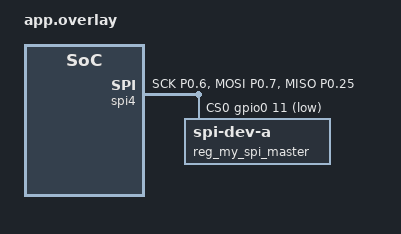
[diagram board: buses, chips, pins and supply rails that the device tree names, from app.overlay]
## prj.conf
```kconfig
#
# Copyright (c) 2018 Nordic Semiconductor
#
# SPDX-License-Identifier: LicenseRef-Nordic-5-Clause
#

# Enable the UART driver
CONFIG_UART_ASYNC_API=y
CONFIG_NRFX_UARTE0=y
CONFIG_SERIAL=y

CONFIG_GPIO=y

# Make sure printk is printing to the UART console
CONFIG_CONSOLE=y
CONFIG_UART_CONSOLE=y

CONFIG_HEAP_MEM_POOL_SIZE=2048

CONFIG_BT=y
CONFIG_BT_PERIPHERAL=y
CONFIG_BT_DEVICE_NAME="Nordic_UART_Service"
CONFIG_BT_DEVICE_APPEARANCE=833
CONFIG_BT_MAX_CONN=1
CONFIG_BT_MAX_PAIRED=1

# Enable the NUS service
CONFIG_BT_NUS=y

# Enable bonding
CONFIG_BT_SETTINGS=y
CONFIG_FLASH=y
CONFIG_FLASH_PAGE_LAYOUT=y
CONFIG_FLASH_MAP=y
CONFIG_NVS=y
CONFIG_SETTINGS=y

# Enable DK LED and Buttons library
CONFIG_DK_LIBRARY=y

# This example requires more workqueue stack
CONFIG_SYSTEM_WORKQUEUE_STACK_SIZE=2048

# Config logger
CONFIG_LOG=y
CONFIG_USE_SEGGER_RTT=y
CONFIG_LOG_BACKEND_RTT=y
CONFIG_LOG_BACKEND_UART=n

CONFIG_ASSERT=y

#SPI

CONFIG_SPI=y
CONFIG_SPI_ASYNC=y
```

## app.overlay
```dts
/*
 * Copyright (c) 2022 Nordic Semiconductor ASA
 *
 * SPDX-License-Identifier: LicenseRef-Nordic-5-Clause
 */
 &pinctrl {
	spi_master_default: spi_master_default {
		group1 {
			psels = <NRF_PSEL(SPIM_SCK, 0, 6)>,
					<NRF_PSEL(SPIM_MOSI, 0, 7)>,
					<NRF_PSEL(SPIM_MISO, 0, 25)>;
		};
	};

	spi_master_sleep: spi_master_sleep {
		group1 {
			psels = <NRF_PSEL(SPIM_SCK, 0, 6)>,
					<NRF_PSEL(SPIM_MOSI, 0, 7)>,
					<NRF_PSEL(SPIM_MISO, 0, 25)>;
			low-power-enable;
		};
	};
};

my_spi_master: &spi4 {
	compatible = "nordic,nrf-spim";
	status = "okay";
	pinctrl-0 = <&spi_master_default>;
	pinctrl-1 = <&spi_master_sleep>;
	cs-gpios = <&gpio0 11 GPIO_ACTIVE_LOW>;
	reg_my_spi_master:  spi-dev-a@0 {
		reg = <0>;
	};
};
/ {
	chosen {
		nordic,nus-uart = &uart0;
	};
};
```

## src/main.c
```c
/*
 * Copyright (c) 2018 Nordic Semiconductor ASA
 *
 * SPDX-License-Identifier: LicenseRef-Nordic-5-Clause
 */

/** @file
 *  @brief Nordic UART Bridge Service (NUS) sample
 */
#include "uart_async_adapter.h"
#include <zephyr/kernel.h>
#include <zephyr/types.h>
#include <zephyr/kernel.h>
#include <zephyr/drivers/uart.h>
#include <zephyr/usb/usb_device.h>

#include <soc.h>

#include <zephyr/bluetooth/bluetooth.h>
#include <zephyr/bluetooth/uuid.h>
#include <zephyr/bluetooth/gatt.h>
#include <zephyr/bluetooth/hci.h>

#include <bluetooth/services/nus.h>

#include <dk_buttons_and_leds.h>

#include <zephyr/settings/settings.h>

#include <stdio.h>

#include <zephyr/logging/log.h>

////////////////////////// SPI ///////////////////////////
#include <zephyr/device.h>
#include <zephyr/devicetree.h>
#include <zephyr/drivers/spi.h>
#include <zephyr/drivers/gpio.h>
/////////////////////////// SPI //////////////////////////

#define LOG_MODULE_NAME peripheral_uart
LOG_MODULE_REGISTER(LOG_MODULE_NAME);

#define STACKSIZE CONFIG_BT_NUS_THREAD_STACK_SIZE
#define PRIORITY 7

#define DEVICE_NAME CONFIG_BT_DEVICE_NAME
#define DEVICE_NAME_LEN	(sizeof(DEVICE_NAME) - 1)

#define RUN_STATUS_LED DK_LED1
#define RUN_LED_BLINK_INTERVAL 1000

#define CON_STATUS_LED DK_LED2

#define KEY_PASSKEY_ACCEPT DK_BTN1_MSK
#define KEY_PASSKEY_REJECT DK_BTN2_MSK

#define UART_BUF_SIZE CONFIG_BT_NUS_UART_BUFFER_SIZE
#define UART_WAIT_FOR_BUF_DELAY K_MSEC(50)
#define UART_WAIT_FOR_RX CONFIG_BT_NUS_UART_RX_WAIT_TIME

static K_SEM_DEFINE(ble_init_ok, 0, 1);
static K_SEM_DEFINE(sem_spi_txrx, 0, 1);

static struct bt_conn *current_conn;
static struct bt_conn *auth_conn;

static const struct device *uart = DEVICE_DT_GET(DT_CHOSEN(nordic_nus_uart));
static struct k_work_delayable uart_work;

struct uart_data_t {
	void *fifo_reserved;
	uint8_t data[UART_BUF_SIZE];
	uint16_t len;
};

static K_FIFO_DEFINE(fifo_uart_tx_data);
static K_FIFO_DEFINE(fifo_uart_rx_data);

static const struct bt_data ad[] = {
	BT_DATA_BYTES(BT_DATA_FLAGS, (BT_LE_AD_GENERAL | BT_LE_AD_NO_BREDR)),
	BT_DATA(BT_DATA_NAME_COMPLETE, DEVICE_NAME, DEVICE_NAME_LEN),
};

static const struct bt_data sd[] = {
	BT_DATA_BYTES(BT_DATA_UUID128_ALL, BT_UUID_NUS_VAL),
};

#if CONFIG_BT_NUS_UART_ASYNC_ADAPTER
UART_ASYNC_ADAPTER_INST_DEFINE(async_adapter);
#else
static const struct device *const async_adapter;
#endif

static void uart_cb(const struct device *dev, struct uart_event *evt, void *user_data)
{
	ARG_UNUSED(dev);

	static size_t aborted_len;
	struct uart_data_t *buf;
	static uint8_t *aborted_buf;
	static bool disable_req;

	switch (evt->type) {
	case UART_TX_DONE:
		LOG_DBG("UART_TX_DONE");
		if ((evt->data.tx.len == 0) ||
		    (!evt->data.tx.buf)) {
			return;
		}

		if (aborted_buf) {
			buf = CONTAINER_OF(aborted_buf, struct uart_data_t,
					   data);
			aborted_buf = NULL;
			aborted_len = 0;
		} else {
			buf = CONTAINER_OF(evt->data.tx.buf, struct uart_data_t,
					   data);
		}

		k_free(buf);

		buf = k_fifo_get(&fifo_uart_tx_data, K_NO_WAIT);
		if (!buf) {
			return;
		}

		if (uart_tx(uart, buf->data, buf->len, SYS_FOREVER_MS)) {
			LOG_WRN("Failed to send data over UART");
		}

		break;

	case UART_RX_RDY:
		LOG_DBG("UART_RX_RDY");
		buf = CONTAINER_OF(evt->data.rx.buf, struct uart_data_t, data);
		buf->len += evt->data.rx.len;

		if (disable_req) {
			return;
		}

		if ((evt->data.rx.buf[buf->len - 1] == '\n') ||
		    (evt->data.rx.buf[buf->len - 1] == '\r')) {
			disable_req = true;
			uart_rx_disable(uart);
		}

		break;

	case UART_RX_DISABLED:
		LOG_DBG("UART_RX_DISABLED");
		disable_req = false;

		buf = k_malloc(sizeof(*buf));
		if (buf) {
			buf->len = 0;
		} else {
			LOG_WRN("Not able to allocate UART receive buffer");
			k_work_reschedule(&uart_work, UART_WAIT_FOR_BUF_DELAY);
			return;
		}

		uart_rx_enable(uart, buf->data, sizeof(buf->data),
			       UART_WAIT_FOR_RX);

		break;

	case UART_RX_BUF_REQUEST:
		LOG_DBG("UART_RX_BUF_REQUEST");
		buf = k_malloc(sizeof(*buf));
		if (buf) {
			buf->len = 0;
			uart_rx_buf_rsp(uart, buf->data, sizeof(buf->data));
		} else {
			LOG_WRN("Not able to allocate UART receive buffer");
		}

		break;

	case UART_RX_BUF_RELEASED:
		LOG_DBG("UART_RX_BUF_RELEASED");
		buf = CONTAINER_OF(evt->data.rx_buf.buf, struct uart_data_t,
				   data);

		if (buf->len > 0) {
			k_fifo_put(&fifo_uart_rx_data, buf);
		} else {
			k_free(buf);
		}

		break;

	case UART_TX_ABORTED:
		LOG_DBG("UART_TX_ABORTED");
		if (!aborted_buf) {
			aborted_buf = (uint8_t *)evt->data.tx.buf;
		}

		aborted_len += evt->data.tx.len;
		buf = CONTAINER_OF(aborted_buf, struct uart_data_t,
				   data);

		uart_tx(uart, &buf->data[aborted_len],
			buf->len - aborted_len, SYS_FOREVER_MS);

		break;

	default:
		break;
	}
}

static void uart_work_handler(struct k_work *item)
{
	struct uart_data_t *buf;

	buf = k_malloc(sizeof(*buf));
	if (buf) {
		buf->len = 0;
	} else {
		LOG_WRN("Not able to allocate UART receive buffer");
		k_work_reschedule(&uart_work, UART_WAIT_FOR_BUF_DELAY);
		return;
	}

	uart_rx_enable(uart, buf->data, sizeof(buf->data), UART_WAIT_FOR_RX);
}

static bool uart_test_async_api(const struct device *dev)
{
	const struct uart_driver_api *api =
			(const struct uart_driver_api *)dev->api;

	return (api->callback_set != NULL);
}

static int uart_init(void)
{
	int err;
	int pos;
	struct uart_data_t *rx;
	struct uart_data_t *tx;

	if (!device_is_ready(uart)) {
		return -ENODEV;
	}

	if (IS_ENABLED(CONFIG_USB_DEVICE_STACK)) {
		err = usb_enable(NULL);
		if (err && (err != -EALREADY)) {
			LOG_ERR("Failed to enable USB");
			return err;
		}
	}

	rx = k_malloc(sizeof(*rx));
	if (rx) {
		rx->len = 0;
	} else {
		return -ENOMEM;
	}

	k_work_init_delayable(&uart_work, uart_work_handler);


	if (IS_ENABLED(CONFIG_BT_NUS_UART_ASYNC_ADAPTER) && !uart_test_async_api(uart)) {
		/* Implement API adapter */
		uart_async_adapter_init(async_adapter, uart);
		uart = async_adapter;
	}

	err = uart_callback_set(uart, uart_cb, NULL);
	if (err) {
		k_free(rx);
		LOG_ERR("Cannot initialize UART callback");
		return err;
	}

	if (IS_ENABLED(CONFIG_UART_LINE_CTRL)) {
		LOG_INF("Wait for DTR");
		while (true) {
			uint32_t dtr = 0;

			uart_line_ctrl_get(uart, UART_LINE_CTRL_DTR, &dtr);
			if (dtr) {
				break;
			}
			/* Give CPU resources to low priority threads. */
			k_sleep(K_MSEC(100));
		}
		LOG_INF("DTR set");
		err = uart_line_ctrl_set(uart, UART_LINE_CTRL_DCD, 1);
		if (err) {
			LOG_WRN("Failed to set DCD, ret code %d", err);
		}
		err = uart_line_ctrl_set(uart, UART_LINE_CTRL_DSR, 1);
		if (err) {
			LOG_WRN("Failed to set DSR, ret code %d", err);
		}
	}

	tx = k_malloc(sizeof(*tx));

	if (tx) {
		pos = snprintf(tx->data, sizeof(tx->data),
			       "Starting Nordic UART service example\r\n");

		if ((pos < 0) || (pos >= sizeof(tx->data))) {
			k_free(rx);
			k_free(tx);
			LOG_ERR("snprintf returned %d", pos);
			return -ENOMEM;
		}

		tx->len = pos;
	} else {
		k_free(rx);
		return -ENOMEM;
	}

	err = uart_tx(uart, tx->data, tx->len, SYS_FOREVER_MS);
	if (err) {
		k_free(rx);
		k_free(tx);
		LOG_ERR("Cannot display welcome message (err: %d)", err);
		return err;
	}

	err = uart_rx_enable(uart, rx->data, sizeof(rx->data), 50);
	if (err) {
		LOG_ERR("Cannot enable uart reception (err: %d)", err);
		/* Free the rx buffer only because the tx buffer will be handled in the callback */
		k_free(rx);
	}

	return err;
}

static void connected(struct bt_conn *conn, uint8_t err)
{
	char addr[BT_ADDR_LE_STR_LEN];

	if (err) {
		LOG_ERR("Connection failed (err %u)", err);
		return;
	}

	bt_addr_le_to_str(bt_conn_get_dst(conn), addr, sizeof(addr));
	LOG_INF("Connected %s", addr);

	current_conn = bt_conn_ref(conn);

	dk_set_led_on(CON_STATUS_LED);
}

static void disconnected(struct bt_conn *conn, uint8_t reason)
{
	char addr[BT_ADDR_LE_STR_LEN];

	bt_addr_le_to_str(bt_conn_get_dst(conn), addr, sizeof(addr));

	LOG_INF("Disconnected: %s (reason %u)", addr, reason);

	if (auth_conn) {
		bt_conn_unref(auth_conn);
		auth_conn = NULL;
	}

	if (current_conn) {
		bt_conn_unref(current_conn);
		current_conn = NULL;
		dk_set_led_off(CON_STATUS_LED);
	}
}

#ifdef CONFIG_BT_NUS_SECURITY_ENABLED
static void security_changed(struct bt_conn *conn, bt_security_t level,
			     enum bt_security_err err)
{
	char addr[BT_ADDR_LE_STR_LEN];

	bt_addr_le_to_str(bt_conn_get_dst(conn), addr, sizeof(addr));

	if (!err) {
		LOG_INF("Security changed: %s level %u", addr, level);
	} else {
		LOG_WRN("Security failed: %s level %u err %d", addr,
			level, err);
	}
}
#endif

BT_CONN_CB_DEFINE(conn_callbacks) = {
	.connected    = connected,
	.disconnected = disconnected,
#ifdef CONFIG_BT_NUS_SECURITY_ENABLED
	.security_changed = security_changed,
#endif
};

#if defined(CONFIG_BT_NUS_SECURITY_ENABLED)
static void auth_passkey_display(struct bt_conn *conn, unsigned int passkey)
{
	char addr[BT_ADDR_LE_STR_LEN];

	bt_addr_le_to_str(bt_conn_get_dst(conn), addr, sizeof(addr));

	LOG_INF("Passkey for %s: %06u", addr, passkey);
}

static void auth_passkey_confirm(struct bt_conn *conn, unsigned int passkey)
{
	char addr[BT_ADDR_LE_STR_LEN];

	auth_conn = bt_conn_ref(conn);

	bt_addr_le_to_str(bt_conn_get_dst(conn), addr, sizeof(addr));

	LOG_INF("Passkey for %s: %06u", addr, passkey);
	LOG_INF("Press Button 1 to confirm, Button 2 to reject.");
}


static void auth_cancel(struct bt_conn *conn)
{
	char addr[BT_ADDR_LE_STR_LEN];

	bt_addr_le_to_str(bt_conn_get_dst(conn), addr, sizeof(addr));

	LOG_INF("Pairing cancelled: %s", addr);
}


static void pairing_complete(struct bt_conn *conn, bool bonded)
{
	char addr[BT_ADDR_LE_STR_LEN];

	bt_addr_le_to_str(bt_conn_get_dst(conn), addr, sizeof(addr));

	LOG_INF("Pairing completed: %s, bonded: %d", addr, bonded);
}


static void pairing_failed(struct bt_conn *conn, enum bt_security_err reason)
{
	char addr[BT_ADDR_LE_STR_LEN];

	bt_addr_le_to_str(bt_conn_get_dst(conn), addr, sizeof(addr));

	LOG_INF("Pairing failed conn: %s, reason %d", addr, reason);
}


static struct bt_conn_auth_cb conn_auth_callbacks = {
	.passkey_display = auth_passkey_display,
	.passkey_confirm = auth_passkey_confirm,
	.cancel = auth_cancel,
};

static struct bt_conn_auth_info_cb conn_auth_info_callbacks = {
	.pairing_complete = pairing_complete,
	.pairing_failed = pairing_failed
};
#else
static struct bt_conn_auth_cb conn_auth_callbacks;
static struct bt_conn_auth_info_cb conn_auth_info_callbacks;
#endif

static void bt_receive_cb(struct bt_conn *conn, const uint8_t *const data,
			  uint16_t len)
{
	int err;
	char addr[BT_ADDR_LE_STR_LEN] = {0};

	bt_addr_le_to_str(bt_conn_get_dst(conn), addr, ARRAY_SIZE(addr));

	LOG_INF("Received data from: %s", addr);

	for (uint16_t pos = 0; pos != len;) {
		struct uart_data_t *tx = k_malloc(sizeof(*tx));

		if (!tx) {
			LOG_WRN("Not able to allocate UART send data buffer");
			return;
		}

		/* Keep the last byte of TX buffer for potential LF char. */
		size_t tx_data_size = sizeof(tx->data) - 1;

		if ((len - pos) > tx_data_size) {
			tx->len = tx_data_size;
		} else {
			tx->len = (len - pos);
		}

		memcpy(tx->data, &data[pos], tx->len);

		pos += tx->len;

		/* Append the LF character when the CR character triggered
		 * transmission from the peer.
		 */
		if ((pos == len) && (data[len - 1] == '\r')) {
			tx->data[tx->len] = '\n';
			tx->len++;
		}

		err = uart_tx(uart, tx->data, tx->len, SYS_FOREVER_MS);
		if (err) {
			k_fifo_put(&fifo_uart_tx_data, tx);
		}
	}
}

static struct bt_nus_cb nus_cb = {
	.received = bt_receive_cb,
};

void error(void)
{
	dk_set_leds_state(DK_ALL_LEDS_MSK, DK_NO_LEDS_MSK);

	while (true) {
		/* Spin for ever */
		k_sleep(K_MSEC(1000));
	}
}

#ifdef CONFIG_BT_NUS_SECURITY_ENABLED
static void num_comp_reply(bool accept)
{
	if (accept) {
		bt_conn_auth_passkey_confirm(auth_conn);
		LOG_INF("Numeric Match, conn %p", (void *)auth_conn);
	} else {
		bt_conn_auth_cancel(auth_conn);
		LOG_INF("Numeric Reject, conn %p", (void *)auth_conn);
	}

	bt_conn_unref(auth_conn);
	auth_conn = NULL;
}

void button_changed(uint32_t button_state, uint32_t has_changed)
{
	uint32_t buttons = button_state & has_changed;

	if (auth_conn) {
		if (buttons & KEY_PASSKEY_ACCEPT) {
			num_comp_reply(true);
		}

		if (buttons & KEY_PASSKEY_REJECT) {
			num_comp_reply(false);
		}
	}
}
#endif /* CONFIG_BT_NUS_SECURITY_ENABLED */

static void configure_gpio(void)
{
	int err;

#ifdef CONFIG_BT_NUS_SECURITY_ENABLED
	err = dk_buttons_init(button_changed);
	if (err) {
		LOG_ERR("Cannot init buttons (err: %d)", err);
	}
#endif /* CONFIG_BT_NUS_SECURITY_ENABLED */

	err = dk_leds_init();
	if (err) {
		LOG_ERR("Cannot init LEDs (err: %d)", err);
	}
}
/////////////////// SPI /////////////////////////
/* 1000 msec = 1 sec */
#define SLEEP_TIME_MS   1000

/* The devicetree node identifier for the "led0" alias. 
#define LED0_NODE DT_ALIAS(led0)

static const struct gpio_dt_spec led = GPIO_DT_SPEC_GET(LED0_NODE, gpios);*/



#define MY_SPI_MASTER DT_NODELABEL(my_spi_master)
#define SPI1_NODE           DT_NODELABEL(my_spi_master)
/////////////////// SPI /////////////////////////
void main(void)
{
	int blink_status = 0;
	int err = 0;

	configure_gpio();

	err = uart_init();
	if (err) {
		error();
	}

	if (IS_ENABLED(CONFIG_BT_NUS_SECURITY_ENABLED)) {
		err = bt_conn_auth_cb_register(&conn_auth_callbacks);
		if (err) {
			printk("Failed to register authorization callbacks.\n");
			return;
		}

		err = bt_conn_auth_info_cb_register(&conn_auth_info_callbacks);
		if (err) {
			printk("Failed to register authorization info callbacks.\n");
			return;
		}
	}

	err = bt_enable(NULL);
	if (err) {
		error();
	}

	LOG_INF("Bluetooth initialized");

	k_sem_give(&ble_init_ok);

	if (IS_ENABLED(CONFIG_SETTINGS)) {
		settings_load();
	}

	err = bt_nus_init(&nus_cb);
	if (err) {
		LOG_ERR("Failed to initialize UART service (err: %d)", err);
		return;
	}

	err = bt_le_adv_start(BT_LE_ADV_CONN, ad, ARRAY_SIZE(ad), sd,
			      ARRAY_SIZE(sd));
	if (err) {
		LOG_ERR("Advertising failed to start (err %d)", err);
		return;
	}
	//SPI init
	k_sem_give(&sem_spi_txrx);
}
	uint8_t   spi_rx_buf[1]; // spirx buffer

void ble_write_thread(void)
{
	/* Don't go any further until BLE is initialized */
	k_sem_take(&ble_init_ok, K_FOREVER);

	for (;;) {
		/* Wait indefinitely for data to be sent over bluetooth */
		/* struct uart_data_t *buf = k_fifo_get(&fifo_uart_rx_data,
						     K_FOREVER); */

		if (bt_nus_send(NULL, spi_rx_buf, 8*sizeof(spi_rx_buf))) {
			LOG_WRN("Failed to send data over BLE connection");
		}
		k_sleep(K_MSEC(1000));

		//k_free(buf);
	}
}

void spi_thread(void){
////////////////////////// SPI //////////////////////////
 	struct device * spi1_dev = DEVICE_DT_GET(MY_SPI_MASTER);
	if(!device_is_ready(spi1_dev)) {
		printk("SPI master device not ready!\n");
	}
	k_sem_take(&sem_spi_txrx, K_FOREVER);

	struct spi_cs_control spim_cs = {
		.gpio = SPI_CS_GPIOS_DT_SPEC_GET(DT_NODELABEL(reg_my_spi_master)),
		.delay = 0,
	};

    struct spi_config spi_cfg = {
        .frequency = 4000000,
        .operation = SPI_WORD_SET(8) | SPI_TRANSFER_MSB |
				 SPI_MODE_CPOL | SPI_MODE_CPHA,
		.slave = 0,
		.cs = &spim_cs,
    };
	uint8_t   spi_tx_buf[24]; // spitx buffer
	struct spi_buf tx_buf_arr = {.buf = spi_tx_buf, .len=sizeof(spi_tx_buf)};
    struct spi_buf_set tx = {.buffers = &tx_buf_arr, .count = 1};
	struct spi_buf rx_buf_arr = {.buf = spi_rx_buf, .len = sizeof(spi_rx_buf)};
    struct spi_buf_set rx  = {.buffers = &rx_buf_arr, .count = 1};
	spi_tx_buf[0] = 0xAE;
    spi_tx_buf[1] = 0xD5;
	spi_tx_buf[2] = 0x80;
	spi_tx_buf[3] = 0xA8;
	spi_tx_buf[4] = 63;
    spi_tx_buf[5] = 0xD3;
	spi_tx_buf[6] = 0x40 | 0x0;
	spi_tx_buf[7] = 0x10;
	spi_tx_buf[8] = 0x20;
    spi_tx_buf[9] = 0x0;
	spi_tx_buf[10] = 0xA0 | 1;
	spi_tx_buf[11] = 0xC8;
	spi_tx_buf[12] = 0xDA;
    spi_tx_buf[13] = 0x12;
	spi_tx_buf[14] = 0x81;
	spi_tx_buf[15] = 0x9F;
	spi_tx_buf[16] = 0xD9;
    spi_tx_buf[17] = 0x22;
	spi_tx_buf[18] = 0xDB;
	spi_tx_buf[19] = 0x40;
	spi_tx_buf[20] = 0xA4;
    spi_tx_buf[21] = 0xA6;
	spi_tx_buf[22] = 0x2E;
	spi_tx_buf[23] = 0xAF;
	for (int i = 0; i < 24; i++)
	{
		printk("SPI TX: 0x%.2x\n", spi_tx_buf[i]);
	}
 	int error2 = spi_write(spi1_dev,&spi_cfg,&tx);
	////////////////////////// SPI //////////////////////////
	for (;;) {
		////////////////////////// SPI //////////////////////////
		int error2 = spi_write(spi1_dev,&spi_cfg,&tx);
		if(error2 != 0){
			printk("SPI transceive error: %i\n", error2);
		}
		error2 = spi_read(spi1_dev,&spi_cfg,&rx);
		if (error2 != 0)
		{
			printk("SPI transceive error: %i\n", error2);
		}
		printk("SPI RX: 0x%.2x\n", spi_rx_buf[0]);
		k_sleep(K_MSEC(1000));
		////////////////////////// SPI //////////////////////////
	}
}

K_THREAD_DEFINE(ble_write_thread_id, STACKSIZE, ble_write_thread, NULL, NULL,
		NULL, PRIORITY, 0, 0);

K_THREAD_DEFINE(spi_thread_id, STACKSIZE, spi_thread, NULL, NULL,
		NULL, 7, 0, 0);
```
